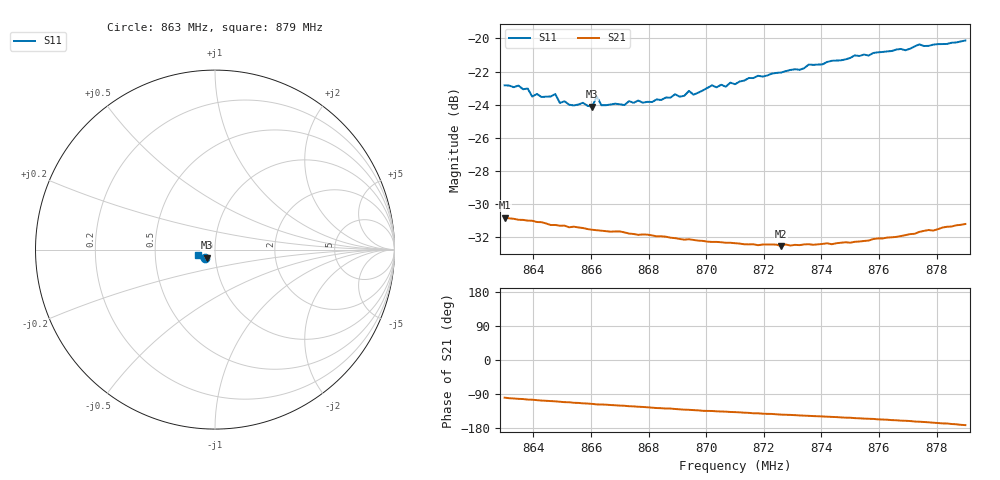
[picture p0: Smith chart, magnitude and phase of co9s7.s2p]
# HZ S RI R 50
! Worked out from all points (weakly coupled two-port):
!   101 points, 863 MHz to 879 MHz, reference 50 ohm
!   highest |S21| = -30.80 dB at 863 MHz (marker M1); lowest = -32.5 dB at 872.6 MHz (marker M2)
!   lowest |S11| = -24.1 dB at 866.04 MHz (marker M3), VSWR 1.13, Z = 45.7 - j4.11 ohm
!   |S11| at or under -10 dB: start of sweep to end of sweep
!   S12 and S22 are empty: the file has one direction only
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8.63e8  -0.0548 -0.047  -0.0047 -0.0284  0 0  0 0
8.638e8  -0.0529 -0.0467  -0.00702 -0.0273  0 0  0 0
8.6396e8  -0.0503 -0.0439  -0.00719 -0.0272  0 0  0 0
8.6476e8  -0.0505 -0.0454  -0.00895 -0.0259  0 0  0 0
8.6492e8  -0.0466 -0.0437  -0.00939 -0.0256  0 0  0 0
8.6572e8  -0.0449 -0.0455  -0.0111 -0.0244  0 0  0 0
8.6604e8  -0.0432 -0.0448  -0.0115 -0.0238  0 0  0 0
8.662e8  -0.048 -0.0464  -0.0121 -0.0235  0 0  0 0
8.6636e8  -0.0435 -0.0454  -0.0121 -0.0234  0 0  0 0
8.6844e8  -0.0408 -0.0509  -0.0153 -0.0202  0 0  0 0
8.6892e8  -0.0425 -0.0529  -0.0158 -0.0193  0 0  0 0
8.6924e8  -0.0416 -0.0527  -0.0162 -0.0186  0 0  0 0
8.694e8  -0.0439 -0.0538  -0.0164 -0.0186  0 0  0 0
8.6956e8  -0.0429 -0.0523  -0.0166 -0.0183  0 0  0 0
8.702e8  -0.0453 -0.0562  -0.0171 -0.0173  0 0  0 0
8.71e8  -0.0466 -0.0559  -0.0178 -0.0163  0 0  0 0
8.7148e8  -0.0509 -0.0563  -0.0182 -0.0155  0 0  0 0
8.726e8  -0.0549 -0.0567  -0.0191 -0.0138  0 0  0 0
8.7372e8  -0.0605 -0.0572  -0.0202 -0.0126  0 0  0 0
8.7644e8  -0.0774 -0.049  -0.0234 -0.00915  0 0  0 0
8.774e8  -0.085 -0.0445  -0.0249 -0.00769  0 0  0 0
8.79e8  -0.093 -0.0325  -0.0273 -0.00391  0 0  0 0
